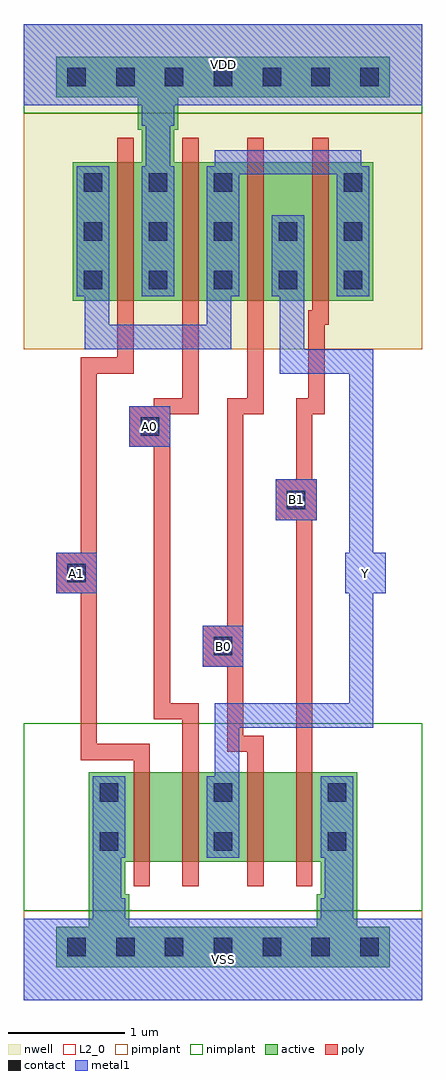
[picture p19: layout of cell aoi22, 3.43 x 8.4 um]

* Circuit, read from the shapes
.subckt aoi22 A0 A1 B0 B1 VDD VSS Y
M1 n1 A1 VSS VSS nfet w=0.77u l=0.14u
M2 Y A0 n1 VSS nfet w=0.77u l=0.14u
M3 n2 B0 Y VSS nfet w=0.77u l=0.14u
M4 VSS B1 n2 VSS nfet w=0.77u l=0.14u
M5 VDD A1 n3 VDD pfet w=1.19u l=0.14u
M6 n3 A0 VDD VDD pfet w=1.19u l=0.14u
M7 Y B0 n3 VDD pfet w=1.19u l=0.14u
M8 n3 B1 Y VDD pfet w=1.19u l=0.14u
.ends

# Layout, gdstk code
from math import pi, radians
import gdstk
lib = gdstk.Library(unit=1e-6, precision=1e-09)
def R(c, l, rs):  # rectangles x0, y0, x1, y1
    for r in rs: c.add(gdstk.rectangle(r[:2], r[2:], *l))
def A(c, l, x, y, w, h, nx, ny, dx, dy):  # array of equal rectangles
    R(c, l, [(x+i*dx, y+j*dy, x+i*dx+w, y+j*dy+h) for i in range(nx) for j in range(ny)])
def P(c, l, *ps):  # polygons
    for p in ps: c.add(gdstk.Polygon(p, *l))
L2_0 = (2, 0)
nwell = (3, 0)
active = (6, 0)
poly = (17, 0)
pimplant = (25, 0)
nimplant = (26, 0)
contact = (30, 0)
metal1 = (31, 0)

adk_poly_m1 = lib.new_cell('ADK_poly_m1')
R(adk_poly_m1, poly, [(-0.175,-0.175,0.175,0.175)])
R(adk_poly_m1, contact, [(-0.08,-0.08,0.08,0.08)])
R(adk_poly_m1, metal1, [(-0.175,-0.175,0.175,0.175)])

aoi22 = lib.new_cell('aoi22')
R(aoi22, L2_0, [(0,0,3.43,2.38)])
R(aoi22, nwell, [(0,5.6,3.43,7.63), (0,5.6,3.43,8.4)])
R(aoi22, active, [(0.28,0.28,3.15,0.63), (0.56,0.63,0.91,0.91), (2.52,0.63,2.87,0.91), (0.56,0.91,0.875,1.19), (2.555,0.91,2.87,1.19), (0.56,1.19,2.87,1.96), (0.56,1.19,0.945,1.96), (2.485,1.19,2.87,1.96), (0.42,6.02,3.01,7.21), (0.42,6.02,0.805,7.21), (2.625,6.02,3.01,7.21), (1.015,7.21,1.295,7.49), (0.98,7.49,1.33,7.77), (0.28,7.77,3.15,8.12)])
A(aoi22, poly, 0.805, 5.81, 0.14, 0.21, 4, 2, 0.56, 1.4)
A(aoi22, poly, 0.805, 6.02, 0.14, 1.19, 4, 1, 0.56, 0)
R(aoi22, poly, [(0.945,0.98,1.085,1.19), (1.365,0.98,1.505,1.19), (1.925,0.98,2.065,1.19), (2.345,0.98,2.485,1.19), (0.945,1.19,1.085,1.96), (1.365,1.19,1.505,1.96), (1.925,1.19,2.065,1.96), (2.345,1.19,2.485,1.96), (0.945,1.96,1.085,2.17), (1.365,1.96,1.505,2.17), (1.925,1.96,2.065,2.17), (2.345,1.96,2.485,2.17)])
P(aoi22, poly, [(1.12,2.415),(1.365,2.415),(1.365,2.135),(1.505,2.135),(1.505,2.555),(1.26,2.555),(1.26,5.04),(1.505,5.04),(1.505,5.845),(1.365,5.845),(1.365,5.18),(1.12,5.18)],
  [(2.345,2.135),(2.485,2.135),(2.485,5.04),(2.59,5.04),(2.59,5.935),(2.45,5.935),(2.45,5.18),(2.345,5.18)],
  [(1.75,2.135),(2.065,2.135),(2.065,2.275),(1.89,2.275),(1.89,5.04),(2.065,5.04),(2.065,5.845),(1.925,5.845),(1.925,5.18),(1.75,5.18)])
R(aoi22, pimplant, [(0,0,3.43,0.77), (0,5.6,3.43,7.63)])
R(aoi22, nimplant, [(0,0.77,3.43,2.38), (0,7.63,3.43,8.4)])
A(aoi22, contact, 0.375, 0.375, 0.16, 0.16, 7, 2, 0.42, 7.49)
A(aoi22, contact, 0.655, 1.285, 0.16, 0.16, 3, 2, 0.98, 0.42)
A(aoi22, contact, 0.515, 6.115, 0.16, 0.16, 5, 2, 0.56, 0.42)
A(aoi22, contact, 0.515, 6.955, 0.16, 0.16, 3, 1, 0.56, 0)
R(aoi22, contact, [(2.755,6.955,2.915,7.115)])
A(aoi22, metal1, 0.595, 1.225, 0.28, 0.7, 3, 1, 0.98, 0)
A(aoi22, metal1, 0.455, 6.055, 0.28, 1.12, 3, 1, 0.56, 0)
R(aoi22, metal1, [(0,0,3.43,0.7), (0,0,3.43,0.7), (0.595,0.7,0.875,0.875), (2.555,0.7,2.835,0.875), (0.595,0.875,0.84,1.225), (2.59,0.875,2.835,1.225), (1.54,2.87,1.89,3.22), (0.28,3.5,0.63,3.85), (2.765,3.5,3.115,3.85), (2.17,4.13,2.52,4.48), (0.91,4.76,1.26,5.11), (2.135,6.055,2.415,6.755), (2.695,6.055,2.975,7.175), (1.05,7.175,1.26,7.525), (1.015,7.525,1.295,7.7), (0,7.7,3.43,8.4), (0,7.7,3.43,8.4)])
aoi22.add(gdstk.FlexPath([(2.31,6.055),(2.31,5.495),(2.905,5.495),(2.905,3.85)], 0.21, ends="flush", simple_path=True, layer=31, datatype=0))  # metal1
aoi22.add(gdstk.FlexPath([(1.75,7.175),(1.75,7.21),(2.8,7.21),(2.8,7.175)], 0.21, ends="flush", simple_path=True, layer=31, datatype=0))  # metal1
aoi22.add(gdstk.FlexPath([(2.905,3.85),(2.905,2.45),(1.75,2.45),(1.75,1.925)], 0.21, ends="flush", simple_path=True, layer=31, datatype=0))  # metal1
aoi22.add(gdstk.FlexPath([(1.68,6.055),(1.68,5.705),(0.63,5.705),(0.63,6.055)], 0.21, ends="flush", simple_path=True, layer=31, datatype=0))  # metal1
aoi22.add(gdstk.FlexPath([(0.56,3.85),(0.56,5.46),(0.875,5.46),(0.875,5.845)], 0.14, ends="flush", simple_path=True, layer=17, datatype=0))  # poly
aoi22.add(gdstk.FlexPath([(1.085,2.135),(0.56,2.135),(0.56,3.5)], 0.14, ends="flush", simple_path=True, layer=17, datatype=0))  # poly
aoi22.add(gdstk.Reference(adk_poly_m1, (0.455,3.675), rotation=pi, x_reflection=True))
aoi22.add(gdstk.Reference(adk_poly_m1, (1.085,4.935), rotation=pi, x_reflection=True))
aoi22.add(gdstk.Reference(adk_poly_m1, (1.715,3.045), rotation=pi, x_reflection=True))
aoi22.add(gdstk.Reference(adk_poly_m1, (2.345,4.305), rotation=pi, x_reflection=True))
aoi22.add(gdstk.Label('VSS', (1.715,0.35), layer=131, texttype=0))
aoi22.add(gdstk.Label('VDD', (1.715,8.05), layer=131, texttype=0))
aoi22.add(gdstk.Label('A1', (0.455,3.675), layer=131, texttype=0))
aoi22.add(gdstk.Label('A0', (1.085,4.935), layer=131, texttype=0))
aoi22.add(gdstk.Label('B0', (1.715,3.045), layer=131, texttype=0))
aoi22.add(gdstk.Label('B1', (2.345,4.305), layer=131, texttype=0))
aoi22.add(gdstk.Label('Y', (2.94,3.675), layer=131, texttype=0))

lib.write_gds('aoi22.gds')
